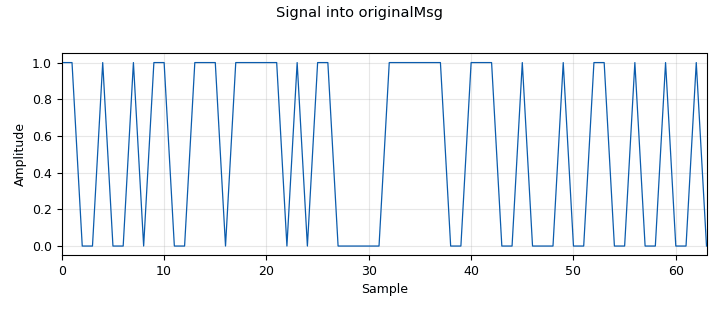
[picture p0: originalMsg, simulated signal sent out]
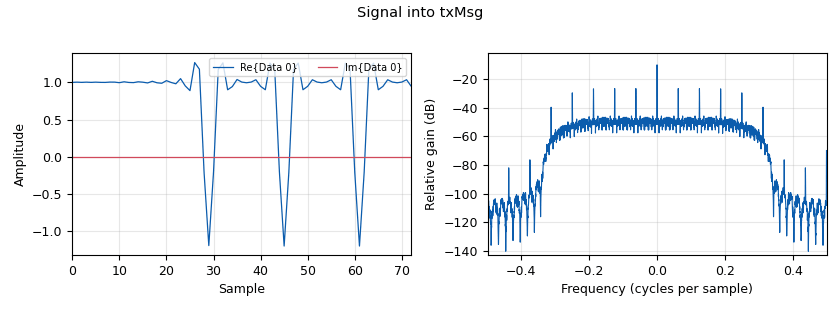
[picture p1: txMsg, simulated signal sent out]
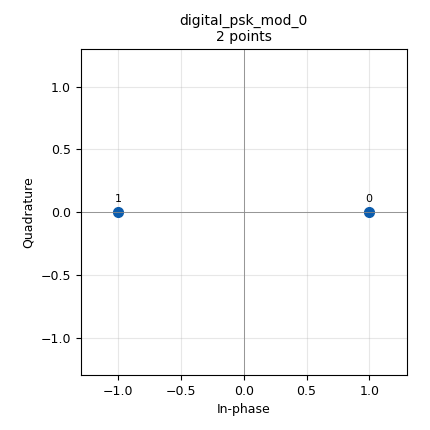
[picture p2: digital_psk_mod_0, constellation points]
<?xml version='1.0' encoding='utf-8'?>
<flow_graph>
<block>
<key>options</key>
<param><key>id</key><value>sdrTX</value></param>
<param><key>title</key><value>SDR Transmitter</value></param>
<param><key>author</key><value>Daniel Franch</value></param>
<param><key>description</key><value>Generates the transmitted message for the SDR system: channel coded, modulated and pulse shaped.</value></param>
<param><key>generate_options</key><value>hb</value></param>
<param><key>category</key><value>TCC-SDR</value></param>
</block>
<block>
<key>variable</key>
<param><key>id</key><value>mLength</value></param>
<param><key>value</key><value>10000</value></param>
</block>
<block>
<key>variable</key>
<param><key>id</key><value>samp_rate</value></param>
<param><key>value</key><value>32000</value></param>
</block>
<block>
<key>variable</key>
<param><key>id</key><value>excess_bw</value></param>
<param><key>value</key><value>0.35</value></param>
</block>
<block>
<key>variable</key>
<param><key>id</key><value>M</value></param>
<param><key>value</key><value>2</value></param>
</block>
<block>
<key>variable</key>
<param><key>id</key><value>sps</value></param>
<param><key>value</key><value>2</value></param>
</block>
<block>
<key>pad_sink</key>
<param><key>id</key><value>originalMsg</value></param>
<param><key>label</key><value>originalMsg</value></param>
<param><key>type</key><value>byte</value></param>
</block>
<block>
<key>pad_sink</key>
<param><key>id</key><value>txMsg</value></param>
<param><key>label</key><value>TX Message</value></param>
<param><key>type</key><value>complex</value></param>
</block>
<block>
<key>analog_random_source_x</key>
<param><key>id</key><value>analog_random_source_x_0</value></param>
<param><key>type</key><value>byte</value></param>
<param><key>min</key><value>0</value></param>
<param><key>max</key><value>2</value></param>
<param><key>num_samps</key><value>mLength</value></param>
<param><key>repeat</key><value>True</value></param>
</block>
<block>
<key>digital_psk_mod</key>
<param><key>id</key><value>digital_psk_mod_0</value></param>
<param><key>constellation_points</key><value>M</value></param>
<param><key>mod_code</key><value>"gray"</value></param>
<param><key>differential</key><value>False</value></param>
<param><key>samples_per_symbol</key><value>sps</value></param>
<param><key>excess_bw</key><value>excess_bw</value></param>
</block>
<connection><source_block_id>analog_random_source_x_0</source_block_id><sink_block_id>digital_psk_mod_0</sink_block_id><source_key>0</source_key><sink_key>0</sink_key></connection>
<connection><source_block_id>analog_random_source_x_0</source_block_id><sink_block_id>originalMsg</sink_block_id><source_key>0</source_key><sink_key>0</sink_key></connection>
<connection><source_block_id>digital_psk_mod_0</source_block_id><sink_block_id>txMsg</sink_block_id><source_key>0</source_key><sink_key>0</sink_key></connection>
</flow_graph>
